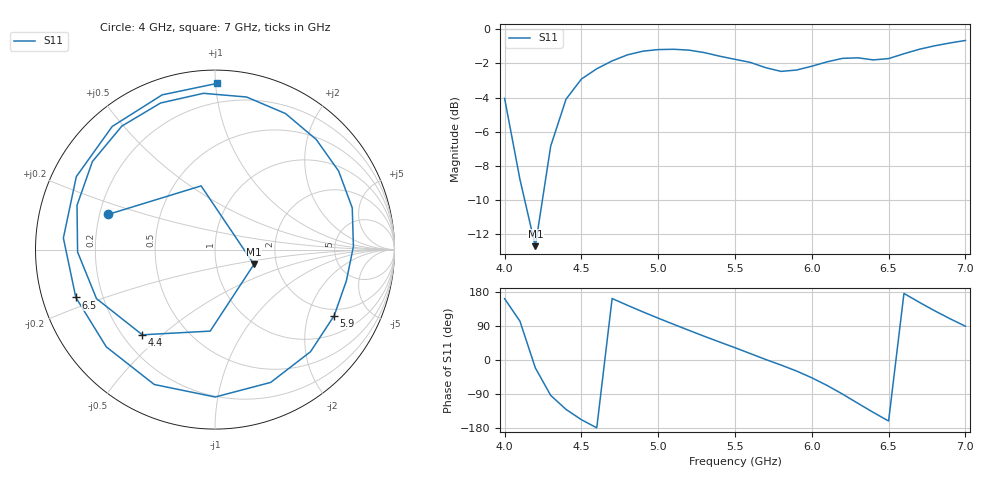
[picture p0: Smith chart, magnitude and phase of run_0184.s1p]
! Touchstone file exported from HFSS 2024.2.0
!  File:  C:/Users/wsak9/Desktop/Sim Fast/Widenad Patch/WP_AI_V1_sweep.aedt
!  Generated:  10:37:37 PM Oct 13, 2026
!  Design:  A1_model
!  Project:  WP_AI_V1_sweep
!  Setup:  Setup1
!  Solution:  Sweep
! Variables:
!  Air_gap = 1.89mm
!  Curve_Amp1 = 2.03
!  Curve_len1 = 1
!  Curve_pos = 13.135mm
!  Extra = 0.98mm
!  H_sub = 0.79mm
!  L_Patch = 22.27mm
!  L_Patch1 = 17.25mm
!  Sx = 1.95mm
!  Sy = 3.54mm
!  WS = 1.35mm
!  W_Patch = 18.69mm
!  W_Patch1 = 16.27mm
!Data is not renormalized
# GHz S MA
! Terminal data exported
! Port[1] = 1
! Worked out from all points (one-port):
!   31 points, 4 GHz to 7 GHz, reference per port
!   lowest |S11| = -12.7 dB at 4.2 GHz (marker M1), VSWR 1.60
!   |S11| at or under -10 dB: 4.131 GHz to 4.246 GHz (115 MHz wide, 2.75 % of centre)
!   S11 on the Smith chart (normalised r, x): 4 GHz: 0.23, +0.15; 4.4 GHz: 0.28, -0.43; 5.9 GHz: 1.71, -2.96; 6.5 GHz: 0.10, -0.17; 7 GHz: 0.08, +1.01
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4  0.6274 161.8
4.1  0.3633 102.3
4.2  0.232 -20.8
4.3  0.4549 -93.4
4.4  0.624 -130.5
4.5  0.7146 -157.5
4.6  0.7657 -179.0
4.7  0.8073 162.2
4.8  0.841 144.3
5  0.8713 110.4
5.1  0.8731 94.2
5.2  0.8681 78.3
5.4  0.8334 47.4
5.5  0.816 32.4
5.6  0.7993 16.9
5.7  0.7713 1.3
5.9  0.7591 -29.0
6  0.779 -46.9
6.1  0.8024 -67.2
6.2  0.8213 -89.9
6.3  0.8243 -114.2
6.4  0.8127 -138.2
6.5  0.8199 -161.0
6.6  0.8472 175.6
6.7  0.8732 152.2
6.8  0.8937 129.9
6.9  0.9111 108.9
7  0.9264 89.2
